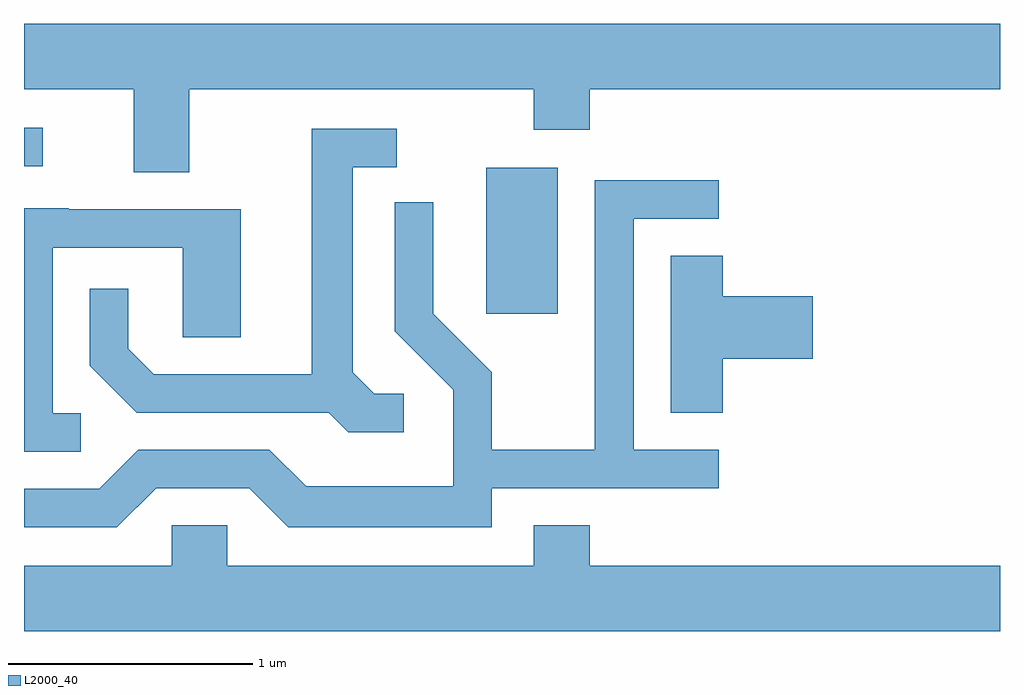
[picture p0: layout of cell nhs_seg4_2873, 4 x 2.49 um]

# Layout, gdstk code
import gdstk
lib = gdstk.Library(unit=1e-6, precision=1e-09)
def R(c, l, rs):  # rectangles x0, y0, x1, y1
    for r in rs: c.add(gdstk.rectangle(r[:2], r[2:], *l))
def P(c, l, *ps):  # polygons
    for p in ps: c.add(gdstk.Polygon(p, *l))
L2000_40 = (2000, 40)

nhs_seg4_2873 = lib.new_cell('nhs_seg4_2873')
R(nhs_seg4_2873, L2000_40, [(271.506,1289.376,271.799,1289.974), (269.611,1289.981,269.688,1290.139)])
P(nhs_seg4_2873, L2000_40, [(270.289,1290.296),(271.701,1290.296),(271.701,1290.131),(271.929,1290.131),(271.929,1290.296),(273.611,1290.296),(273.611,1290.564),(269.611,1290.564),(269.611,1290.296),(270.061,1290.296),(270.061,1289.956),(270.289,1289.956)],
  [(271.168,1289.049),(271.047,1289.049),(270.959,1289.137),(270.959,1289.976),(271.138,1289.976),(271.138,1290.134),(270.791,1290.134),(270.791,1289.129),(270.142,1289.129),(270.039,1289.232),(270.039,1289.478),(269.881,1289.478),(269.881,1289.164),(270.074,1288.971),(270.859,1288.971),(270.939,1288.891),(271.168,1288.891)],
  [(270.152,1288.661),(270.534,1288.661),(270.694,1288.501),(271.529,1288.501),(271.529,1288.661),(272.458,1288.661),(272.458,1288.819),(272.109,1288.819),(272.109,1289.766),(272.458,1289.766),(272.458,1289.924),(271.951,1289.924),(271.951,1288.819),(271.529,1288.819),(271.529,1289.137),(271.289,1289.377),(271.289,1289.833),(271.131,1289.833),(271.131,1289.304),(271.371,1289.064),(271.371,1288.669),(270.767,1288.669),(270.617,1288.819),(270.079,1288.819),(269.919,1288.659),(269.611,1288.659),(269.611,1288.501),(269.992,1288.501)],
  [(269.843,1288.969),(269.729,1288.969),(269.729,1289.646),(270.261,1289.646),(270.261,1289.281),(270.499,1289.281),(270.499,1289.804),(269.795,1289.804),(269.795,1289.809),(269.611,1289.809),(269.611,1288.811),(269.843,1288.811)],
  [(272.474,1289.191),(272.844,1289.191),(272.844,1289.449),(272.474,1289.449),(272.474,1289.614),(272.261,1289.614),(272.261,1288.971),(272.474,1288.971)],
  [(273.611,1288.344),(271.929,1288.344),(271.929,1288.509),(271.701,1288.509),(271.701,1288.344),(270.444,1288.344),(270.444,1288.509),(270.216,1288.509),(270.216,1288.344),(269.611,1288.344),(269.611,1288.076),(273.611,1288.076)])

lib.write_gds('nhs_seg4_2873.gds')
